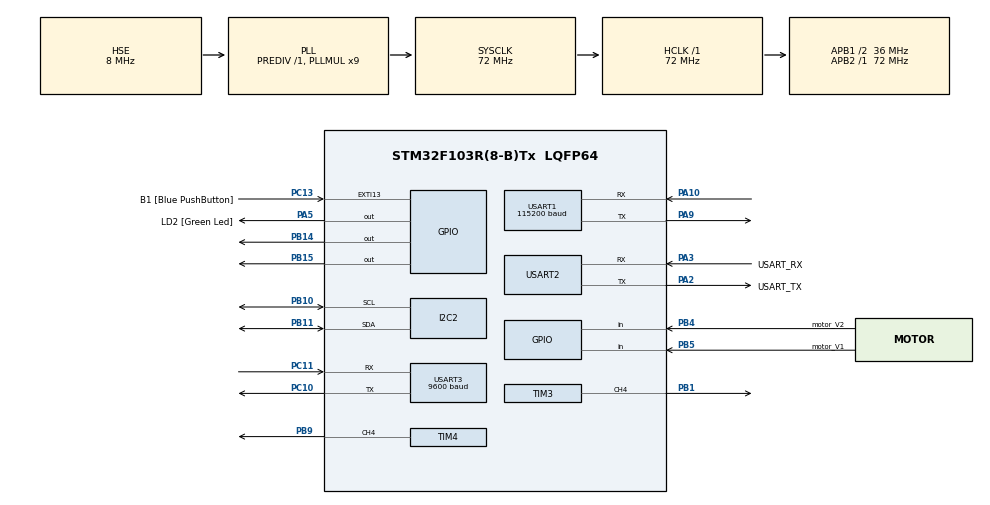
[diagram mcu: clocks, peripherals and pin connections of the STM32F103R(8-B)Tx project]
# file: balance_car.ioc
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Dma.Request0=USART3_RX
Dma.Request1=USART3_TX
Dma.Request2=USART1_RX
Dma.Request3=USART1_TX
Dma.USART1_RX.2.Direction=DMA_PERIPH_TO_MEMORY
Dma.USART1_RX.2.Instance=DMA1_Channel5
Dma.USART1_RX.2.MemDataAlignment=DMA_MDATAALIGN_BYTE
Dma.USART1_RX.2.MemInc=DMA_MINC_ENABLE
Dma.USART1_RX.2.Mode=DMA_NORMAL
Dma.USART1_RX.2.PeriphDataAlignment=DMA_PDATAALIGN_BYTE
Dma.USART1_RX.2.PeriphInc=DMA_PINC_DISABLE
Dma.USART1_RX.2.Priority=DMA_PRIORITY_LOW
Dma.USART1_TX.3.Direction=DMA_MEMORY_TO_PERIPH
Dma.USART1_TX.3.Instance=DMA1_Channel4
Dma.USART1_TX.3.MemDataAlignment=DMA_MDATAALIGN_BYTE
Dma.USART1_TX.3.MemInc=DMA_MINC_ENABLE
Dma.USART1_TX.3.Mode=DMA_NORMAL
Dma.USART1_TX.3.PeriphDataAlignment=DMA_PDATAALIGN_BYTE
Dma.USART1_TX.3.PeriphInc=DMA_PINC_DISABLE
Dma.USART1_TX.3.Priority=DMA_PRIORITY_LOW
Dma.USART3_RX.0.Direction=DMA_PERIPH_TO_MEMORY
Dma.USART3_RX.0.Instance=DMA1_Channel3
Dma.USART3_RX.0.MemDataAlignment=DMA_MDATAALIGN_BYTE
Dma.USART3_RX.0.MemInc=DMA_MINC_ENABLE
Dma.USART3_RX.0.Mode=DMA_NORMAL
Dma.USART3_RX.0.PeriphDataAlignment=DMA_PDATAALIGN_BYTE
Dma.USART3_RX.0.PeriphInc=DMA_PINC_DISABLE
Dma.USART3_RX.0.Priority=DMA_PRIORITY_MEDIUM
Dma.USART3_TX.1.Direction=DMA_MEMORY_TO_PERIPH
Dma.USART3_TX.1.Instance=DMA1_Channel2
Dma.USART3_TX.1.MemDataAlignment=DMA_MDATAALIGN_BYTE
Dma.USART3_TX.1.MemInc=DMA_MINC_ENABLE
Dma.USART3_TX.1.Mode=DMA_NORMAL
Dma.USART3_TX.1.PeriphDataAlignment=DMA_PDATAALIGN_BYTE
Dma.USART3_TX.1.PeriphInc=DMA_PINC_DISABLE
Dma.USART3_TX.1.Priority=DMA_PRIORITY_MEDIUM
Mcu.Family=STM32F1
Mcu.Name=STM32F103R(8-B)Tx
Mcu.Package=LQFP64
NVIC.DMA1_Channel2_IRQn=true\:0\:0\:false\:false\:true\:false
NVIC.DMA1_Channel3_IRQn=true\:0\:0\:false\:false\:true\:false
NVIC.DMA1_Channel4_IRQn=true\:0\:0\:false\:false\:true\:false
NVIC.DMA1_Channel5_IRQn=true\:0\:0\:false\:false\:true\:false
NVIC.EXTI15_10_IRQn=true\:0\:0\:false\:false\:true\:true
NVIC.PriorityGroup=NVIC_PRIORITYGROUP_4
NVIC.USART1_IRQn=true\:0\:0\:false\:false\:true\:true
NVIC.USART3_IRQn=true\:0\:0\:false\:false\:true\:true
PA10.Mode=Asynchronous
PA10.Signal=USART1_RX
PA13.GPIO_Label=TMS
PA13.Mode=Serial_Wire
PA13.Signal=SYS_JTMS-SWDIO
PA14.GPIO_Label=TCK
PA14.Mode=Serial_Wire
PA14.Signal=SYS_JTCK-SWCLK
PA2.GPIO_Label=USART_TX
PA2.GPIO_Mode=GPIO_MODE_AF_PP
PA2.GPIO_PuPd=GPIO_NOPULL
PA2.GPIO_Speed=GPIO_SPEED_FREQ_HIGH
PA2.Mode=Asynchronous
PA2.Signal=USART2_TX
PA3.GPIO_Label=USART_RX
PA3.GPIO_Mode=GPIO_MODE_INPUT
PA3.GPIO_PuPd=GPIO_NOPULL
PA3.GPIO_Speed=GPIO_SPEED_FREQ_LOW
PA3.Mode=Asynchronous
PA3.Signal=USART2_RX
PA5.GPIO_Label=LD2 [Green Led]
PA5.GPIO_ModeDefaultOutputPP=GPIO_MODE_OUTPUT_PP
PA5.GPIO_PuPd=GPIO_NOPULL
PA5.GPIO_Speed=GPIO_SPEED_FREQ_LOW
PA5.Signal=GPIO_Output
PA9.Mode=Asynchronous
PA9.Signal=USART1_TX
PB1.Signal=S_TIM3_CH4
PB10.Mode=I2C
PB10.Signal=I2C2_SCL
PB11.Mode=I2C
PB11.Signal=I2C2_SDA
PB14.Signal=GPIO_Output
PB15.Signal=GPIO_Output
PB3.GPIO_Label=SWO
PB3.Signal=SYS_JTDO-TRACESWO
PB4.GPIO_Label=motor_V2
PB4.Signal=GPIO_Input
PB5.GPIO_Label=motor_V1
PB5.Signal=GPIO_Input
PB9.Signal=S_TIM4_CH4
PC10.Mode=Asynchronous
PC10.Signal=USART3_TX
PC11.Mode=Asynchronous
PC11.Signal=USART3_RX
PC13-TAMPER-RTC.GPIO_Label=B1 [Blue PushButton]
PC13-TAMPER-RTC.GPIO_PuPd=GPIO_NOPULL
PC13-TAMPER-RTC.Signal=GPXTI13
PC14-OSC32_IN.Mode=LSE-External-Oscillator
PC14-OSC32_IN.Signal=RCC_OSC32_IN
PC15-OSC32_OUT.Mode=LSE-External-Oscillator
PC15-OSC32_OUT.Signal=RCC_OSC32_OUT
PD0-OSC_IN.Mode=HSE-External-Clock-Source
PD0-OSC_IN.Signal=RCC_OSC_IN
PD1-OSC_OUT.Mode=HSE-External-Clock-Source
PD1-OSC_OUT.Signal=RCC_OSC_OUT
ProjectManager.HeapSize=0x200
ProjectManager.StackSize=0x400
ProjectManager.TargetToolchain=MDK-ARM V5
RCC.AHBFreq_Value=72000000
RCC.APB1CLKDivider=RCC_HCLK_DIV2
RCC.APB1Freq_Value=36000000
RCC.APB1TimFreq_Value=72000000
RCC.APB2Freq_Value=72000000
RCC.APB2TimFreq_Value=72000000
RCC.HCLKFreq_Value=72000000
RCC.PLLMUL=RCC_PLL_MUL9
RCC.PLLSourceVirtual=RCC_PLLSOURCE_HSE
RCC.RTCClockSelection=RCC_RTCCLKSOURCE_LSE
RCC.SYSCLKFreq_VALUE=72000000
RCC.SYSCLKSource=RCC_SYSCLKSOURCE_PLLCLK
RCC.USBFreq_Value=72000000
SH.S_TIM3_CH4.0=TIM3_CH4,PWM Generation4 CH4
SH.S_TIM4_CH4.0=TIM4_CH4,PWM Generation4 CH4
TIM3.Channel-PWM\ Generation4\ CH4=TIM_CHANNEL_4
TIM3.Period=1999
TIM3.Prescaler=719
TIM4.Channel-PWM\ Generation4\ CH4=TIM_CHANNEL_4
TIM4.Period=1999
TIM4.Prescaler=719
USART1.BaudRate=115200
USART1.VirtualMode=VM_ASYNC
USART2.VirtualMode=VM_ASYNC
USART3.BaudRate=9600
USART3.VirtualMode=VM_ASYNC
VP_TIM2_VS_ClockSourceINT.Mode=Internal
VP_TIM3_VS_ClockSourceINT.Mode=Internal
VP_TIM4_VS_ClockSourceINT.Mode=Internal
board=NUCLEO-F103RB

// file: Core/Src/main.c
/**
  ******************************************************************************
  * @file           : main.c
  * @brief          : Main program body
  ******************************************************************************
  ** This notice applies to any and all portions of this file
  * that are not between comment pairs USER CODE BEGIN and
  * USER CODE END. Other portions of this file, whether
  * inserted by the user or by software development tools
  * are owned by their respective copyright owners.
  *
  * COPYRIGHT(c) 2018 STMicroelectronics
  *
  * Redistribution and use in source and binary forms, with or without modification,
  * are permitted provided that the following conditions are met:
  *   1. Redistributions of source code must retain the above copyright notice,
  *      this list of conditions and the following disclaimer.
  *   2. Redistributions in binary form must reproduce the above copyright notice,
  *      this list of conditions and the following disclaimer in the documentation
  *      and/or other materials provided with the distribution.
  *   3. Neither the name of STMicroelectronics nor the names of its contributors
  *      may be used to endorse or promote products derived from this software
  *      without specific prior written permission.
  *
  * THIS SOFTWARE IS PROVIDED BY THE COPYRIGHT HOLDERS AND CONTRIBUTORS "AS IS"
  * AND ANY EXPRESS OR IMPLIED WARRANTIES, INCLUDING, BUT NOT LIMITED TO, THE
  * IMPLIED WARRANTIES OF MERCHANTABILITY AND FITNESS FOR A PARTICULAR PURPOSE ARE
  * DISCLAIMED. IN NO EVENT SHALL THE COPYRIGHT HOLDER OR CONTRIBUTORS BE LIABLE
  * FOR ANY DIRECT, INDIRECT, INCIDENTAL, SPECIAL, EXEMPLARY, OR CONSEQUENTIAL
  * DAMAGES (INCLUDING, BUT NOT LIMITED TO, PROCUREMENT OF SUBSTITUTE GOODS OR
  * SERVICES; LOSS OF USE, DATA, OR PROFITS; OR BUSINESS INTERRUPTION) HOWEVER
  * CAUSED AND ON ANY THEORY OF LIABILITY, WHETHER IN CONTRACT, STRICT LIABILITY,
  * OR TORT (INCLUDING NEGLIGENCE OR OTHERWISE) ARISING IN ANY WAY OUT OF THE USE
  * OF THIS SOFTWARE, EVEN IF ADVISED OF THE POSSIBILITY OF SUCH DAMAGE.
  *
  ******************************************************************************
  */
#include "main.h"
#include "stm32f1xx_hal.h"
#include "dma.h"
#include "i2c.h"
#include "tim.h"
#include "usart.h"
#include "gpio.h"

/* USER CODE BEGIN Includes */
#include "motor.h"
#include "tsl2561.h"
#include "mpu6050.h"
/* USER CODE END Includes */

/* USER CODE BEGIN PV */
int blue_key = 0;
uint8_t encoder_state_L = 0;
uint8_t encoder_state_R = 0;
uint16_t motor_left_step = 0;
uint16_t motor_right_step = 0;
float lux = 0;
/* Private variables ---------------------------------------------------------*/

/* USER CODE END PV */

void SystemClock_Config(void);

/* USER CODE BEGIN PFP */
/* Private function prototypes -----------------------------------------------*/

/* USER CODE END PFP */

/* USER CODE BEGIN 0 */
int fputc(int ch, FILE *f)
{
    HAL_UART_Transmit(&huart2,(uint8_t *)&ch,1,0xff);
    return ch;
}

/* USER CODE END 0 */

int main(void)
{

  /* MCU Configuration----------------------------------------------------------*/

  /* Reset of all peripherals, Initializes the Flash interface and the Systick. */
  HAL_Init();

  /* Configure the system clock */
  SystemClock_Config();

  /* Initialize all configured peripherals */
  MX_GPIO_Init();
  MX_DMA_Init();
  MX_USART2_UART_Init();
  MX_USART1_UART_Init();
  MX_TIM4_Init();
  MX_TIM3_Init();
  MX_I2C2_Init();
  MX_USART3_UART_Init();
  MX_TIM2_Init();
  /* USER CODE BEGIN 2 */
  // HAL_TIM_Base_Start_IT(&htim2);//motor encoder tim interrupt
  // HAL_TIM_Base_Start_IT(&htim1);//bluetooth tim interrupt

  /* USER CODE END 2 */

  /* Infinite loop */
  /* USER CODE BEGIN WHILE */
  tsl2561_init();
  __HAL_UART_ENABLE_IT(&huart1,UART_IT_IDLE);
  HAL_UART_Receive_DMA(&huart1,rx1_buffer,BUFFER_SIZE);
  __HAL_UART_ENABLE_IT(&huart3,UART_IT_IDLE);
  HAL_UART_Receive_DMA(&huart3,rx3_buffer,BUFFER_SIZE);

  motor_run(50,0,50,0);//设置的定时器priod为1999

  while (1)
  {

  /* USER CODE END WHILE */

  /* USER CODE BEGIN 3 */
    lux = tsl2561_get_lux();
    printf("The luminous flux is %f \n",lux);
    printf("left_step is %d \n right_step is %d \n blue_key is %d \n",motor_left_step,motor_right_step,blue_key);
    if(recv_end_flag1 ==1){
        mpu6050_prt();
        recv_end_flag1 == 0;
        HAL_UART_Receive_DMA(&huart1,rx1_buffer,BUFFER_SIZE);
    }
    if(recv_end_flag3 == 1){
        motor_bluetooth_ctrl();
        HAL_UART_Transmit_DMA(&huart3,rx3_buffer,20);
        recv_end_flag3 = 0;
        HAL_UART_Receive_DMA(&huart3,rx3_buffer,BUFFER_SIZE);
    }

    }
  /* USER CODE END 3 */

}

void SystemClock_Config(void)
{

  RCC_OscInitTypeDef RCC_OscInitStruct;
  RCC_ClkInitTypeDef RCC_ClkInitStruct;

    /**Initializes the CPU, AHB and APB busses clocks
    */
  RCC_OscInitStruct.OscillatorType = RCC_OSCILLATORTYPE_HSE;
  RCC_OscInitStruct.HSEState = RCC_HSE_BYPASS;
  RCC_OscInitStruct.HSEPredivValue = RCC_HSE_PREDIV_DIV1;
  RCC_OscInitStruct.HSIState = RCC_HSI_ON;
  RCC_OscInitStruct.PLL.PLLState = RCC_PLL_ON;
  RCC_OscInitStruct.PLL.PLLSource = RCC_PLLSOURCE_HSE;
  RCC_OscInitStruct.PLL.PLLMUL = RCC_PLL_MUL9;
  if (HAL_RCC_OscConfig(&RCC_OscInitStruct) != HAL_OK)
  {
    _Error_Handler(__FILE__, __LINE__);
  }

    /**Initializes the CPU, AHB and APB busses clocks
    */
  RCC_ClkInitStruct.ClockType = RCC_CLOCKTYPE_HCLK|RCC_CLOCKTYPE_SYSCLK
                              |RCC_CLOCKTYPE_PCLK1|RCC_CLOCKTYPE_PCLK2;
  RCC_ClkInitStruct.SYSCLKSource = RCC_SYSCLKSOURCE_PLLCLK;
  RCC_ClkInitStruct.AHBCLKDivider = RCC_SYSCLK_DIV1;
  RCC_ClkInitStruct.APB1CLKDivider = RCC_HCLK_DIV2;
  RCC_ClkInitStruct.APB2CLKDivider = RCC_HCLK_DIV1;

  if (HAL_RCC_ClockConfig(&RCC_ClkInitStruct, FLASH_LATENCY_2) != HAL_OK)
  {
    _Error_Handler(__FILE__, __LINE__);
  }

    /**Configure the Systick interrupt time
    */
  HAL_SYSTICK_Config(HAL_RCC_GetHCLKFreq()/1000);

    /**Configure the Systick
    */
  HAL_SYSTICK_CLKSourceConfig(SYSTICK_CLKSOURCE_HCLK);

  /* SysTick_IRQn interrupt configuration */
  HAL_NVIC_SetPriority(SysTick_IRQn, 0, 0);
}

void _Error_Handler(char *file, int line)
{
  while(1)
  {
  }
}

/************************ (C) COPYRIGHT STMicroelectronics *****END OF FILE****/
